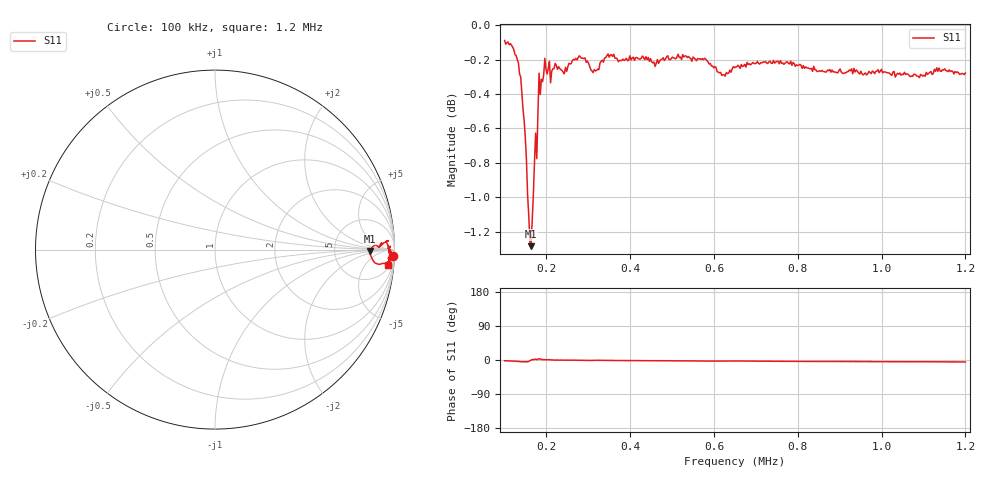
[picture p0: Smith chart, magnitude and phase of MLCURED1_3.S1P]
!Agilent Technologies,E5071C,MY46100265,A.07.02
!Date: Wed Mar 04 14:47:54 2020
!Data & Calibration Information:
!Freq	S11:SOLT1(ON)
# Hz S MA R 50
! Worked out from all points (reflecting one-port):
!   402 points, 100 kHz to 1.2 MHz, reference 50 ohm
!   lowest |S11| = -1.3 dB at 163.1 kHz (marker M1), VSWR 13.54, Z = 675 - j38.3 ohm
!   phase of S11 starts at -2 deg and turns -3 deg over the sweep
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100000  0.9899 -1.9
119202  0.9855 -2.9
132918  0.9752 -4.0
143890  0.9455 -4.7
149377  0.9277 -5.0
154863  0.8927 -4.7
160349  0.8652 -1.8
163092  0.8625 -0.5
168579  0.8924 1.8
179551  0.9428 2.3
187781  0.9645 1.3
193267  0.9672 0.8
217955  0.9713 0.0
239900  0.969 -0.3
275561  0.9785 -0.7
300249  0.9749 -1.1
313965  0.9707 -0.9
349626  0.9789 -1.2
377057  0.9767 -1.3
514214  0.9808 -2.1
596509  0.973 -2.9
621197  0.9674 -2.8
651372  0.9725 -2.6
788529  0.9753 -3.6
925686  0.97 -4.2
1062843  0.9678 -4.5
1114963  0.9689 -4.5
1200000  0.9686 -5.2
